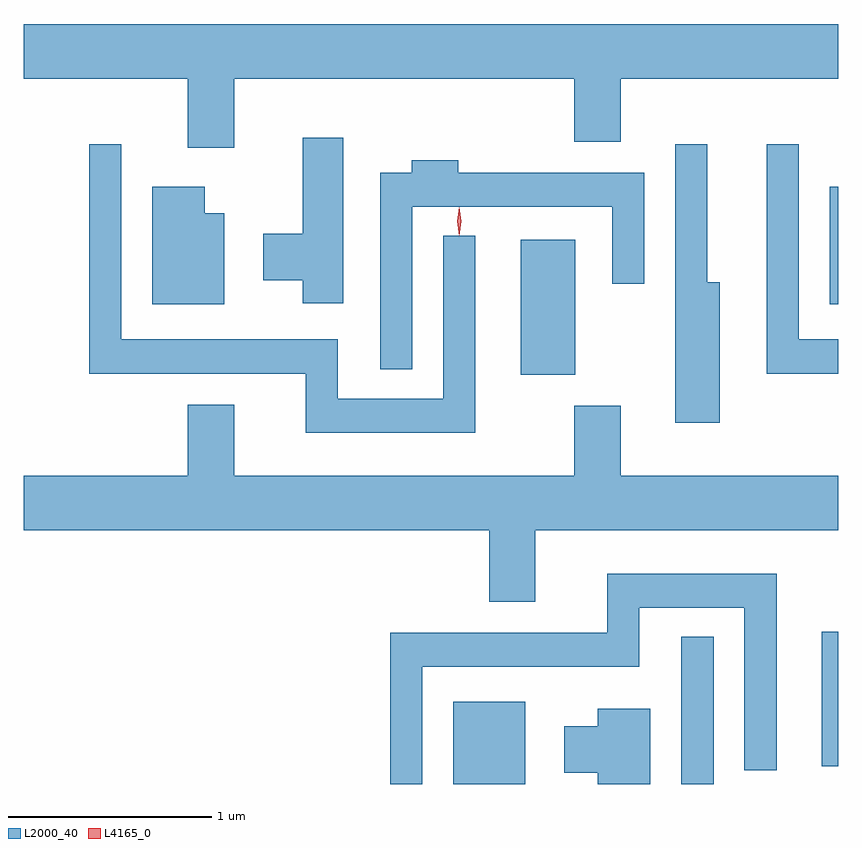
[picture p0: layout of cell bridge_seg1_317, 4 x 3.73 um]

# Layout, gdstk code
import gdstk
lib = gdstk.Library(unit=1e-6, precision=1e-09)
def R(c, l, rs):  # rectangles x0, y0, x1, y1
    for r in rs: c.add(gdstk.rectangle(r[:2], r[2:], *l))
def P(c, l, *ps):  # polygons
    for p in ps: c.add(gdstk.Polygon(p, *l))
L2000_40 = (2000, 40)
L4165_0 = (4165, 0)

bridge_seg1_317 = lib.new_cell('bridge_seg1_317')
R(bridge_seg1_317, L2000_40, [(909.046,878.35,909.399,878.754), (910.166,878.35,910.324,879.073), (910.856,878.436,910.936,879.099), (909.376,880.361,909.644,881.024), (910.896,880.706,910.936,881.284)])
P(bridge_seg1_317, L2000_40, [(907.969,881.816),(909.641,881.816),(909.641,881.506),(909.869,881.506),(909.869,881.816),(910.936,881.816),(910.936,882.084),(906.936,882.084),(906.936,881.816),(907.741,881.816),(907.741,881.476),(907.969,881.476)],
  [(908.504,881.524),(908.306,881.524),(908.306,881.054),(908.111,881.054),(908.111,880.826),(908.306,880.826),(908.306,880.711),(908.504,880.711)],
  [(909.154,881.043),(908.996,881.043),(908.996,880.244),(908.479,880.244),(908.479,880.534),(907.414,880.534),(907.414,881.493),(907.256,881.493),(907.256,880.366),(908.321,880.366),(908.321,880.076),(909.154,880.076)],
  [(910.936,880.534),(910.744,880.534),(910.744,881.493),(910.586,881.493),(910.586,880.366),(910.936,880.366)],
  [(910.354,880.814),(910.294,880.814),(910.294,881.493),(910.136,881.493),(910.136,880.126),(910.354,880.126)],
  [(908.844,881.186),(909.826,881.186),(909.826,880.808),(909.984,880.808),(909.984,881.354),(909.069,881.354),(909.069,881.414),(908.841,881.414),(908.841,881.354),(908.686,881.354),(908.686,880.388),(908.844,880.388)],
  [(907.919,881.154),(907.824,881.154),(907.824,881.284),(907.566,881.284),(907.566,880.706),(907.919,880.706)],
  [(909.449,879.596),(910.936,879.596),(910.936,879.864),(909.869,879.864),(909.869,880.209),(909.641,880.209),(909.641,879.864),(907.969,879.864),(907.969,880.214),(907.741,880.214),(907.741,879.864),(906.936,879.864),(906.936,879.596),(909.221,879.596),(909.221,879.246),(909.449,879.246)],
  [(908.894,878.926),(909.959,878.926),(909.959,879.216),(910.476,879.216),(910.476,878.418),(910.634,878.418),(910.634,879.384),(909.801,879.384),(909.801,879.094),(908.736,879.094),(908.736,878.35),(908.894,878.35)],
  [(910.014,878.719),(909.756,878.719),(909.756,878.634),(909.591,878.634),(909.591,878.406),(909.756,878.406),(909.756,878.35),(910.014,878.35)])
P(bridge_seg1_317, L4165_0, [(909.074,881.047),(909.064,881.114),(909.074,881.18),(909.074,881.18),(909.075,881.18),(909.084,881.114),(909.075,881.047),(909.075,881.047)],
  [(909.074,881.044),(909.065,881.114),(909.074,881.183),(909.075,881.183),(909.075,881.183),(909.085,881.114),(909.075,881.044),(909.075,881.044)])

lib.write_gds('bridge_seg1_317.gds')
